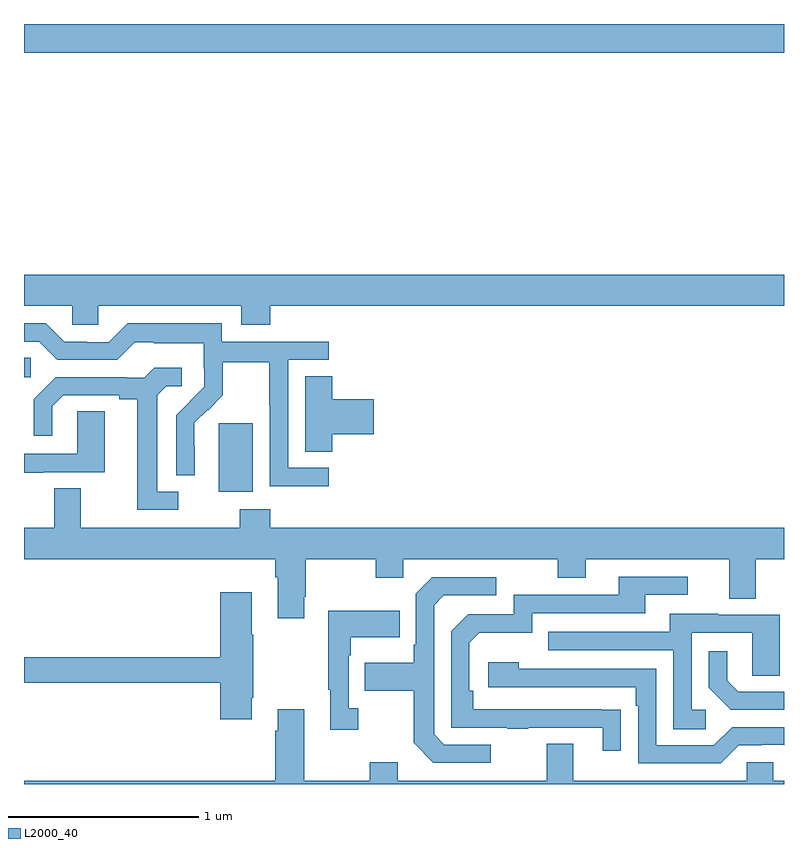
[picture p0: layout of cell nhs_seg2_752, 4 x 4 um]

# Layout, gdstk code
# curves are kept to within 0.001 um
import gdstk
lib = gdstk.Library(unit=1e-6, precision=1e-09)
def R(c, l, rs):  # rectangles x0, y0, x1, y1
    for r in rs: c.add(gdstk.rectangle(r[:2], r[2:], *l))
def P(c, l, *ps):  # polygons
    for p in ps: c.add(gdstk.Polygon(p, *l))
L2000_40 = (2000, 40)

nhs_seg2_752 = lib.new_cell('nhs_seg2_752')
R(nhs_seg2_752, L2000_40, [(150.026,633.338,150.205,633.699), (149,633.942,149.035,634.043), (149,635.648,153,635.8)])
P(nhs_seg2_752, L2000_40, [(150.296,634.316),(153,634.316),(153,634.48),(149,634.48),(149,634.316),(149.253,634.316),(149.253,634.218),(149.391,634.218),(149.391,634.316),(150.143,634.316),(150.143,634.217),(150.296,634.217)],
  [(150.604,633.465),(150.39,633.465),(150.39,634.032),(150.604,634.032),(150.604,634.128),(150.042,634.128),(150.042,634.225),(149.545,634.225),(149.445,634.125),(149.33,634.125),(149.33,634.128),(149.211,634.128),(149.115,634.224),(149,634.224),(149,634.128),(149.079,634.128),(149.175,634.032),(149.49,634.032),(149.583,634.125),(149.683,634.125),(149.683,634.121),(149.946,634.121),(149.946,633.987),(149.948,633.987),(149.948,633.89),(149.802,633.742),(149.802,633.424),(149.898,633.424),(149.897,633.701),(149.967,633.771),(149.97,633.768),(150.047,633.845),(150.047,634.02),(150.292,634.02),(150.292,633.796),(150.294,633.796),(150.294,633.367),(150.604,633.367)],
  [(149.812,633.339),(149.701,633.339),(149.701,633.847),(149.748,633.894),(149.83,633.894),(149.83,633.991),(149.686,633.991),(149.634,633.939),(149.54,633.939),(149.54,633.942),(149.168,633.942),(149.052,633.826),(149.052,633.633),(149.149,633.633),(149.149,633.789),(149.206,633.846),(149.501,633.846),(149.501,633.824),(149.597,633.824),(149.597,633.243),(149.812,633.243)],
  [(150.623,633.641),(150.841,633.641),(150.841,633.824),(150.623,633.824),(150.623,633.947),(150.479,633.947),(150.479,633.55),(150.623,633.55)],
  [(149.101,633.441),(149.425,633.441),(149.425,633.761),(149.28,633.761),(149.28,633.537),(149,633.537),(149,633.437),(149.101,633.437)],
  [(150.296,633.247),(150.136,633.247),(150.136,633.148),(149.299,633.148),(149.299,633.356),(149.159,633.356),(149.159,633.148),(149,633.148),(149,632.984),(150.323,632.984),(150.323,632.888),(150.335,632.888),(150.335,632.673),(150.475,632.673),(150.475,632.785),(150.483,632.785),(150.483,632.984),(150.85,632.984),(150.85,632.885),(150.996,632.885),(150.996,632.984),(151.81,632.984),(151.81,632.885),(151.957,632.885),(151.957,632.984),(152.711,632.984),(152.711,632.776),(152.851,632.776),(152.851,632.984),(153,632.984),(153,633.148),(150.296,633.148)],
  [(152.141,632.192),(151.364,632.193),(151.364,632.29),(151.344,632.29),(151.344,632.544),(151.397,632.597),(151.674,632.597),(151.674,632.7),(152.269,632.7),(152.269,632.796),(152.494,632.796),(152.494,632.892),(152.129,632.892),(152.129,632.796),(151.578,632.796),(151.578,632.694),(151.338,632.694),(151.248,632.604),(151.248,632.097),(151.543,632.097),(151.543,632.092),(151.655,632.092),(151.655,632.097),(152.045,632.097),(152.045,631.974),(152.141,631.974)],
  [(151.456,632.007),(151.212,632.007),(151.158,632.061),(151.158,632.742),(151.209,632.793),(151.486,632.793),(151.486,632.889),(151.149,632.889),(151.062,632.802),(151.062,632.533),(151.05,632.533),(151.05,632.437),(150.793,632.437),(150.793,632.29),(151.05,632.29),(151.05,632.017),(151.155,631.911),(151.456,631.911)],
  [(150.199,632.254),(150.207,632.254),(150.207,632.585),(150.199,632.585),(150.199,632.809),(150.032,632.809),(150.032,632.468),(149,632.468),(149,632.332),(150.032,632.332),(150.032,632.142),(150.199,632.142)],
  [(150.76,632.198),(150.708,632.198),(150.708,632.477),(150.721,632.477),(150.721,632.573),(150.977,632.573),(150.977,632.713),(150.6,632.713),(150.6,632.297),(150.611,632.297),(150.611,632.085),(150.76,632.085)],
  [(152.587,632.19),(152.514,632.19),(152.514,632.595),(152.832,632.595),(152.832,632.371),(152.977,632.371),(152.977,632.691),(152.653,632.691),(152.653,632.695),(152.399,632.695),(152.399,632.601),(151.759,632.601),(151.759,632.505),(152.418,632.505),(152.418,632.089),(152.587,632.089)],
  [(153,632.286),(152.758,632.286),(152.701,632.343),(152.701,632.5),(152.604,632.5),(152.604,632.306),(152.72,632.19),(153,632.19)],
  [(152.763,632.004),(152.882,632.004),(152.882,632.007),(152.997,632.007),(153,632.004),(153,632.1),(152.727,632.1),(152.631,632.004),(152.328,632.004),(152.328,632.406),(151.604,632.406),(151.604,632.44),(151.443,632.44),(151.443,632.31),(152.219,632.31),(152.219,632.213),(152.232,632.213),(152.232,631.908),(152.667,631.908)],
  [(153,631.816),(152.943,631.816),(152.943,631.914),(152.805,631.914),(152.805,631.816),(151.891,631.816),(151.891,632.011),(151.751,632.011),(151.751,631.816),(150.967,631.816),(150.967,631.915),(150.82,631.915),(150.82,631.816),(150.475,631.816),(150.475,632.194),(150.335,632.194),(150.335,632.081),(150.323,632.081),(150.323,631.816),(149,631.816),(149,631.8),(153,631.8)])

lib.write_gds('nhs_seg2_752.gds')
